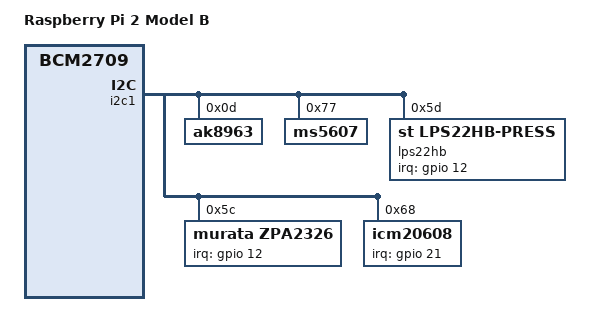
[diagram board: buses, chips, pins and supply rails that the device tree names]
#include "bcm2709-rpi-2-b.dts"
#include "dt-bindings//interrupt-controller/irq.h"

/ {
        /* Main board it is compatible with */
	compatible = "brcm,bcm2709";
	model = "Raspberry Pi 2 Model B";
};

&i2c1 {
	status = "okay";

	/* magnetometer */
	ak8963@0d {
		status = "okay";
		compatible = "ak8963";
		reg = <0x0d>;
		/*gpios = <&gpio 20 1>;*/
		/*
		 * 3D space rotation matrix to apply to correct
		 * positional deviation from drone chassis
		 */
		mount-matrix = "0",  /* x0 */
			       "-1", /* y0 */
			       "0",  /* z0 */
			       "1",  /* x1 */
			       "0",  /* y1 */
			       "0",  /* z1 */
			       "0",  /* x2 */
			       "0",  /* y2 */
			       "1";  /* z2 */
	};

	/* barometer */
	ms5607@77 {
		status = "okay";
		compatible = "ms5607";
		reg = <0x77>;
	};

	/* barometer */
	lps22hb@5d {
		status = "okay";
		compatible = "st,lps22hb-press";
		reg = <0x5d>;
		interrupt-parent = <&gpio>;
		interrupts = <12 IRQ_TYPE_EDGE_RISING>;
		st,drdy-int-pin = <1>;
	};

	/* barometer */
	zpa2326@5c {
		status = "okay";
		compatible = "murata,zpa2326";
		reg = <0x5c>;
		interrupt-parent = <&gpio>;
		interrupts = <12 IRQ_TYPE_EDGE_RISING>;
	};

	/* imu */
	icm20608@68 {
		status = "okay";
		compatible = "icm20608";
		reg = <0x68>;
		interrupt-parent = <&gpio>;
		interrupts = <21 IRQ_TYPE_EDGE_RISING>;
	};
};
